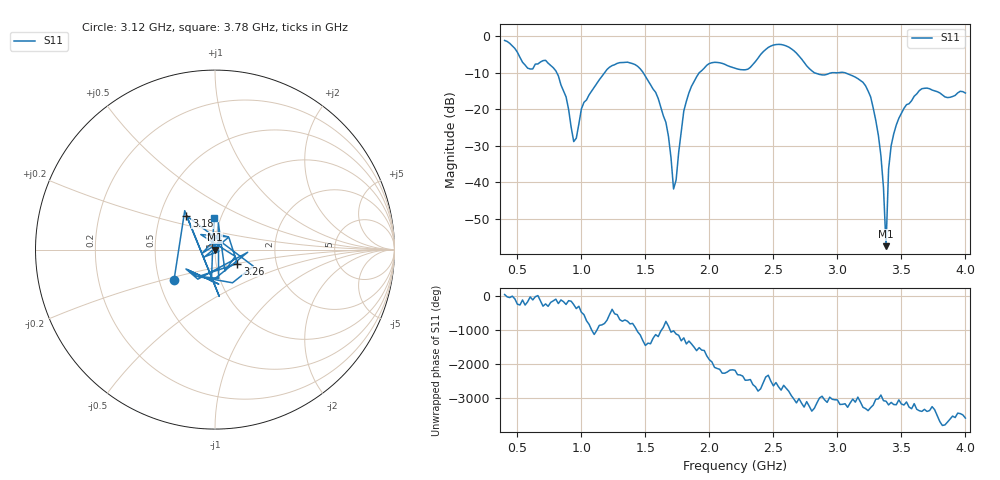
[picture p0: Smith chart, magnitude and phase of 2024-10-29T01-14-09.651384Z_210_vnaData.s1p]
!Created with skrf (http://scikit-rf.org).
# Hz S RI R 50.0
!freq ReS11 ImS11
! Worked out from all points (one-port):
!   181 points, 400 MHz to 4 GHz, reference 50 ohm
!   lowest |S11| = -57.5 dB at 3.38 GHz (marker M1), VSWR 1.00, Z = 49.9 + j0.0544 ohm
!   |S11| at or under -10 dB: 807.3 MHz to 1.182 GHz (374.4 MHz wide, 37.6 % of centre); 1.483 GHz to 1.921 GHz (438.2 MHz wide, 25.8 % of centre); 3.055 GHz to end of sweep (the widest 3 of 4)
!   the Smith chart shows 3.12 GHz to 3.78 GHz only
!   S11 on the Smith chart (normalised r, x): 3.12 GHz: 0.60, -0.22; 3.18 GHz: 0.68, +0.27; 3.26 GHz: 1.27, -0.20; 3.78 GHz: 0.93, +0.33
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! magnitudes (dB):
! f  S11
! 400 MHz  -1.2
! 580 MHz  -8.8
! 720 MHz  -6.6
! 860 MHz  -15.0
! 940 MHz  -28.9
! 1.02 GHz  -18.1
! 1.3 GHz  -7.3
! 1.58 GHz  -15.4
! 1.66 GHz  -23.6
! 1.72 GHz  -41.8
! 1.76 GHz  -31.8
! 1.8 GHz  -20.5
! 1.92 GHz  -10.0
! 2.2 GHz  -8.8
! 2.66 GHz  -4.0
! 2.82 GHz  -10.0
! 3.1 GHz  -10.6
! 3.12 GHz  -10.9
! 3.18 GHz  -12.1
! 3.26 GHz  -16.7
! 3.34 GHz  -32.7
! 3.36 GHz  -41.4
! 3.38 GHz  -57.5
! 3.4 GHz  -36.4
! 3.42 GHz  -30.0
! 3.56 GHz  -18.5
! 3.78 GHz  -15.2
! 4 GHz  -15.6
